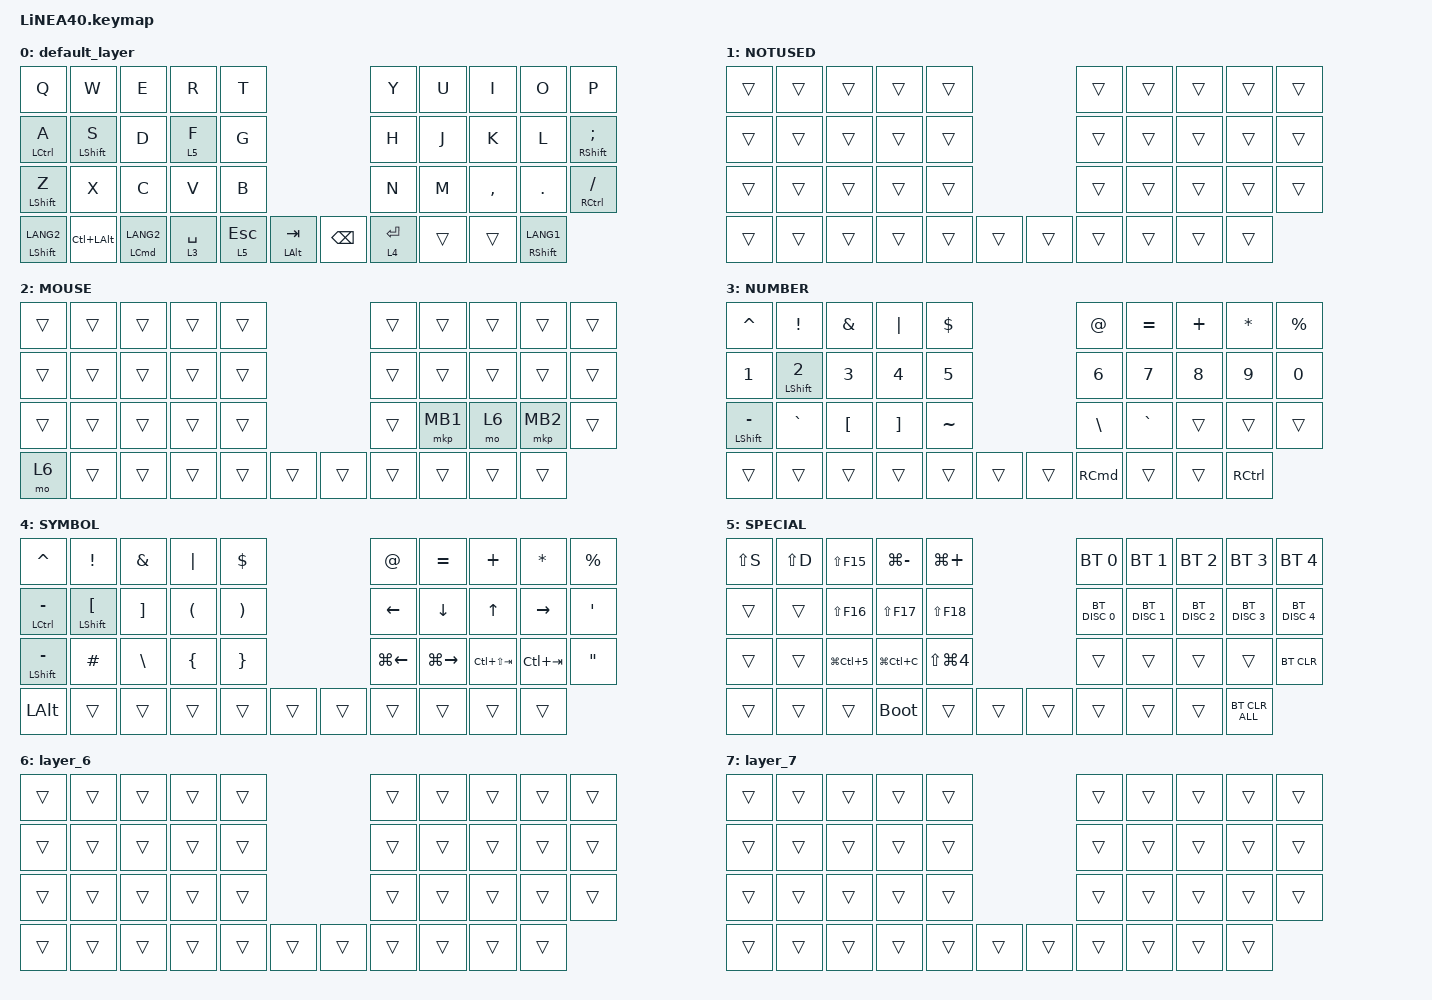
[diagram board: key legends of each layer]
#define ZMK_POINTING_DEFAULT_SCRL_VAL 150

#include <dt-bindings/zmk/input_transform.h>
#include <input/processors.dtsi>
#include <zephyr/dt-bindings/input/input-event-codes.h>
#include <behaviors.dtsi>
#include <dt-bindings/zmk/bt.h>
#include <dt-bindings/zmk/keys.h>
#include <dt-bindings/zmk/pointing.h>

#define NOTUSED  1
#define MOUSE    2
#define NUMBER   3
#define SYMBOL   4
#define SPECIAL  5
#define LAYER6   6

&mt {
    flavor = "balanced";
    quick-tap-ms = <0>;
};

//mouse cursol

&mmv {
    delay-ms = <20>;
    trigger-period-ms = <5>;
    time-to-max-speed-ms = <100>;
    acceleration-exponent = <2>;
};

//mouse scroll

&msc {
    delay-ms = <3>;
    trigger-period-ms = <3>;
    time-to-max-speed-ms = <100>;
    acceleration-exponent = <0>;
};

/ {
    input_processors {
        zip_wheel_scaler: zip_wheel_scaler {
            compatible = "zmk,input-processor-scaler";
            #input-processor-cells = <2>;
            type = <INPUT_EV_REL>;
            codes = <INPUT_REL_WHEEL>;
            track-remainders;
        };
    };
};

/ {
    combos {
        compatible = "zmk,combos";

        ZenkakuHankaku {
            bindings = <&kp GRAVE>;
            key-positions = <11 12>;
        };

        DeleteKey {
            bindings = <&kp DEL>;
            key-positions = <7 8>;
        };

        InsertKey {
            bindings = <&kp INS>;
            key-positions = <6 7>;
        };

        CenterClick {
            bindings = <&mkp MB3>;
            key-positions = <17 16>;
        };

        RightClick {
            bindings = <&mkp MB2>;
            key-positions = <18 17>;
        };

        PrevClick {
            bindings = <&mkp MB4>;
            key-positions = <27 28>;
        };

        ClickNext {
            bindings = <&mkp MB5>;
            key-positions = <26 27>;
        };
    };

    behaviors {
        re_kp: sensor_rotate_kp {
            compatible = "zmk,behavior-sensor-rotate-var";
            #sensor-binding-cells = <2>;
            bindings = <&kp>, <&kp>;
        };

        mouse_scrl: mouse_wheel_scrl {
            compatible = "zmk,behavior-sensor-rotate-var";
            #sensor-binding-cells = <2>;
            bindings = <&msc>, <&msc>;

            tap-ms = <20>;
        };
    };

    keymap {
        compatible = "zmk,keymap";

        default_layer {
            bindings = <
&kp Q                 &kp W             &kp E                   &kp R        &kp T                                            &kp Y        &kp U  &kp I      &kp O    &kp P
&mt LEFT_CONTROL A    &mt LEFT_SHIFT S  &kp D                   &lt 5 F      &kp G                                            &kp H        &kp J  &kp K      &kp L    &mt RIGHT_SHIFT SEMICOLON
&mt LEFT_SHIFT Z      &kp X             &kp C                   &kp V        &kp B                                            &kp N        &kp M  &kp COMMA  &kp DOT  &mt RIGHT_CONTROL SLASH
&mt LEFT_SHIFT LANG2  &kp LC(LEFT_ALT)  &mt LEFT_COMMAND LANG2  &lt 3 SPACE  &lt 5 ESCAPE  &mt LEFT_ALT TAB    &kp BACKSPACE  &lt 4 ENTER         &trans     &trans   &mt RIGHT_SHIFT LANG1
            >;
        };

        //1

        NOTUSED {
            bindings = <
&trans  &trans  &trans  &trans  &trans                    &trans  &trans  &trans  &trans  &trans
&trans  &trans  &trans  &trans  &trans                    &trans  &trans  &trans  &trans  &trans
&trans  &trans  &trans  &trans  &trans                    &trans  &trans  &trans  &trans  &trans
&trans  &trans  &trans  &trans  &trans  &trans    &trans  &trans          &trans  &trans  &trans
            >;
        };

        //2

        MOUSE {
            bindings = <
&trans  &trans  &trans  &trans  &trans                    &trans  &trans    &trans  &trans    &trans
&trans  &trans  &trans  &trans  &trans                    &trans  &trans    &trans  &trans    &trans
&trans  &trans  &trans  &trans  &trans                    &trans  &mkp MB1  &mo 6   &mkp MB2  &trans
&mo 6   &trans  &trans  &trans  &trans  &trans    &trans  &trans            &trans  &trans    &trans
            >;
        };

        //3

        NUMBER {
            bindings = <
&kp CARET             &kp EXCLAMATION          &kp AMPERSAND     &kp PIPE           &kp DOLLAR                    &kp AT_SIGN        &kp EQUAL     &kp PLUS      &kp ASTERISK  &kp PERCENT
&kp NUMBER_1          &mt LEFT_SHIFT NUMBER_2  &kp NUMBER_3      &kp NUMBER_4       &kp N5                        &kp NUMBER_6       &kp NUMBER_7  &kp NUMBER_8  &kp NUMBER_9  &kp NUMBER_0
&mt LEFT_SHIFT MINUS  &kp GRAVE                &kp LEFT_BRACKET  &kp RIGHT_BRACKET  &kp TILDE                     &kp BACKSLASH      &kp GRAVE     &trans        &trans        &trans
&trans                &trans                   &trans            &trans             &trans      &trans    &trans  &kp RIGHT_COMMAND                &trans        &trans        &kp RIGHT_CONTROL
            >;
        };

        //4

        SYMBOL {
            bindings = <
&kp CARET               &kp EXCLAMATION              &kp AMPERSAND      &kp PIPE              &kp DOLLAR                               &kp AT_SIGN         &kp EQUAL            &kp PLUS         &kp ASTERISK     &kp PERCENT
&mt LEFT_CONTROL MINUS  &mt LEFT_SHIFT LEFT_BRACKET  &kp RIGHT_BRACKET  &kp LEFT_PARENTHESIS  &kp RIGHT_PARENTHESIS                    &kp LEFT_ARROW      &kp DOWN_ARROW       &kp UP_ARROW     &kp RIGHT_ARROW  &kp SQT
&mt LEFT_SHIFT MINUS    &kp HASH                     &kp BACKSLASH      &kp LEFT_BRACE        &kp RIGHT_BRACE                          &kp LG(LEFT_ARROW)  &kp LG(RIGHT_ARROW)  &kp LC(LS(TAB))  &kp LC(TAB)      &kp DOUBLE_QUOTES
&kp LEFT_ALT            &trans                       &trans             &trans                &trans                 &trans    &trans  &trans                                   &trans           &trans           &trans
            >;
        };

        //5

        SPECIAL {
            bindings = <
&kp LS(S)  &kp LS(D)  &kp LS(F15)           &kp LG(MINUS)  &kp LG(PLUS)                            &bt BT_SEL 0   &bt BT_SEL 1   &bt BT_SEL 2   &bt BT_SEL 3   &bt BT_SEL 4
&trans     &trans     &kp LS(F16)           &kp LS(F17)    &kp LS(F18)                             &bt BT_DISC 0  &bt BT_DISC 1  &bt BT_DISC 2  &bt BT_DISC 3  &bt BT_DISC 4
&trans     &trans     &kp LG(LC(NUMBER_5))  &kp LG(LC(C))  &kp LS(LG(NUMBER_4))                    &trans         &trans         &trans         &trans         &bt BT_CLR
&trans     &trans     &trans                &bootloader    &trans                &trans    &trans  &trans                        &trans         &trans         &bt BT_CLR_ALL
            >;
        };

        //6

        layer_6 {
            bindings = <
&trans  &trans  &trans  &trans  &trans                    &trans  &trans  &trans  &trans  &trans
&trans  &trans  &trans  &trans  &trans                    &trans  &trans  &trans  &trans  &trans
&trans  &trans  &trans  &trans  &trans                    &trans  &trans  &trans  &trans  &trans
&trans  &trans  &trans  &trans  &trans  &trans    &trans  &trans          &trans  &trans  &trans
            >;
        };

        layer_7 {
            bindings = <
&trans  &trans  &trans  &trans  &trans                    &trans  &trans  &trans  &trans  &trans
&trans  &trans  &trans  &trans  &trans                    &trans  &trans  &trans  &trans  &trans
&trans  &trans  &trans  &trans  &trans                    &trans  &trans  &trans  &trans  &trans
&trans  &trans  &trans  &trans  &trans  &trans    &trans  &trans          &trans  &trans  &trans
            >;
        };
    };
};
